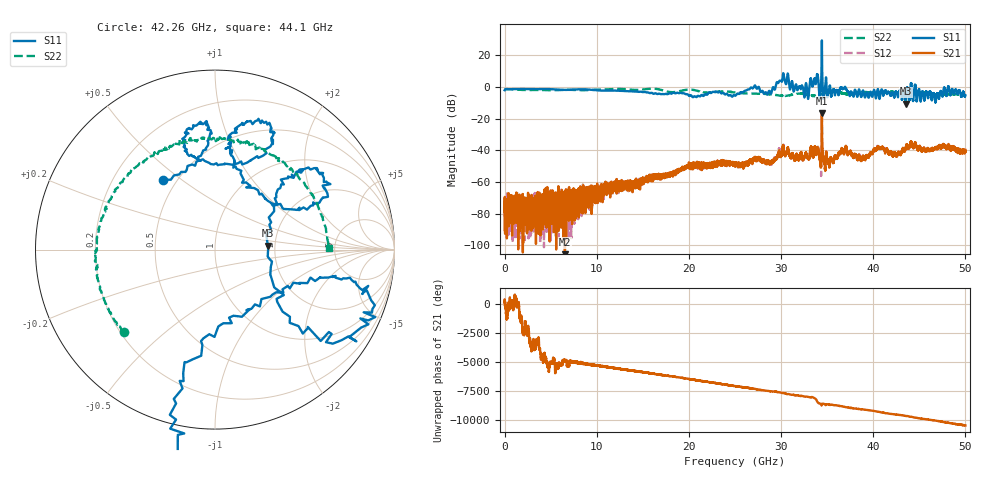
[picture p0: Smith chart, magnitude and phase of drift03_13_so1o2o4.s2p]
!Created with skrf (http://scikit-rf.org).
# Hz S RI R 50.0
!freq ReS11 ImS11 ReS21 ImS21 ReS12 ImS12 ReS22 ImS22
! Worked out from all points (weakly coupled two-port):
!   10000 points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, 5.3 MHz to 50 GHz, reference 50 ohm
!   highest |S21| = -16.40 dB at 34.43 GHz (marker M1); lowest = -118.5 dB at 6.55 GHz (marker M2)
!   lowest |S11| = -10.6 dB at 43.52 GHz (marker M3), VSWR 1.84, Z = 91.6 + j4.23 ohm
!   |S11| at or under -10 dB: 43.50658 GHz to 43.53744 GHz (30.86 MHz wide, 0.0709 % of centre)
!   |S22| runs from -5.8 to -1.1 dB; largest |S21 - S12| = 0.04
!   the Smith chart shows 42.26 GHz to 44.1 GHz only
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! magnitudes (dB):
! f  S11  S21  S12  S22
! 5.3 MHz  -2.1  -75.6  -80.9  -1.3
! 6.55 GHz  -1.9  -118.5  -71.6  -1.9
! 8.34 GHz  -1.5  -64.3  -70.5  -2.1
! 16.67 GHz  -4.4  -55.5  -55.7  -1.5
! 20.16 GHz  -5.4  -50.5  -50.4  -1.7
! 25.01 GHz  -5.5  -49.1  -49.0  -3.5
! 27.02 GHz  -0.4  -45.0  -45.7  -4.2
! 28.72 GHz  -2.5  -46.9  -47.7  -4.5
! 30.14 GHz  4.3  -39.8  -40.7  -5.7
! 32.74 GHz  2.0  -42.6  -42.2  -4.6
! 33.34 GHz  2.6  -39.7  -40.0  -5.5
! 33.82 GHz  3.9  -43.1  -41.9  -5.7
! 34.43 GHz  29.4  -16.4  -17.8  -4.6
! 35.34 GHz  -0.4  -45.3  -45.4  -3.3
! 36.85 GHz  -0.7  -41.7  -41.8  -4.3
! 38.86 GHz  -2.6  -43.6  -44.1  -3.2
! 40.6 GHz  -4.2  -37.7  -38.5  -4.1
! 41.67 GHz  -3.3  -42.2  -42.4  -3.4
! 43.52 GHz  -10.6  -38.4  -38.8  -4.1
! 46.93 GHz  -4.3  -38.2  -38.2  -4.8
! 47.53 GHz  -5.9  -37.2  -36.8  -4.8
! 50 GHz  -5.4  -39.8  -41.2  -4.6
